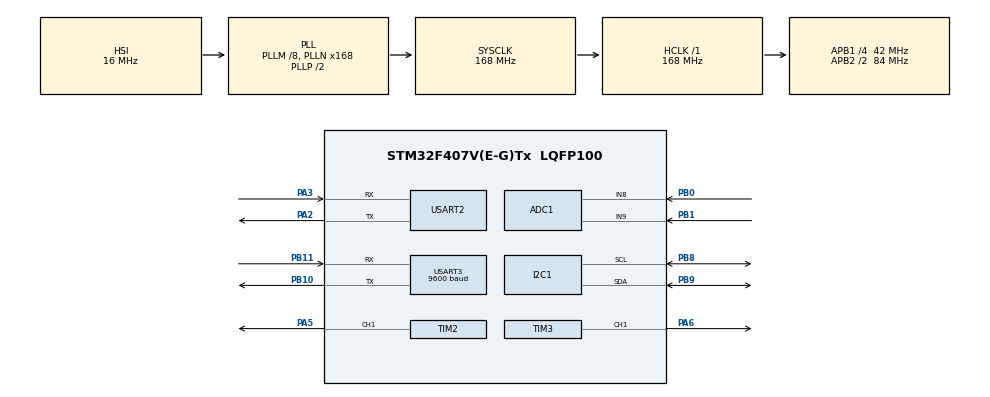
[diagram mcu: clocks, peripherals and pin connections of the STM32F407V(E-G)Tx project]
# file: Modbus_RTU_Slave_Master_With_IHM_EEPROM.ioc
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ADC1.Channel-0\#ChannelRegularConversion=ADC_CHANNEL_8
ADC1.Channel-1\#ChannelRegularConversion=ADC_CHANNEL_9
ADC1.NbrOfConversion=2
ADC1.NbrOfConversionFlag=1
ADC1.Rank-0\#ChannelRegularConversion=1
ADC1.Rank-1\#ChannelRegularConversion=2
ADC1.SamplingTime-0\#ChannelRegularConversion=ADC_SAMPLETIME_480CYCLES
ADC1.SamplingTime-1\#ChannelRegularConversion=ADC_SAMPLETIME_480CYCLES
ADC1.ScanConvMode=ENABLE
ADC1.master=1
I2C1.I2C_Mode=I2C_Fast
Mcu.Family=STM32F4
Mcu.Name=STM32F407V(E-G)Tx
Mcu.Package=LQFP100
NVIC.PriorityGroup=NVIC_PRIORITYGROUP_4
NVIC.TIM6_DAC_IRQn=true\:0\:0\:false\:false\:true\:true\:true\:true
NVIC.USART2_IRQn=true\:0\:0\:false\:false\:true\:true\:true\:true
NVIC.USART3_IRQn=true\:0\:0\:false\:false\:true\:true\:true\:true
PA13.Mode=Serial_Wire
PA13.Signal=SYS_JTMS-SWDIO
PA14.Mode=Serial_Wire
PA14.Signal=SYS_JTCK-SWCLK
PA2.Mode=Asynchronous
PA2.Signal=USART2_TX
PA3.Mode=Asynchronous
PA3.Signal=USART2_RX
PA5.Signal=S_TIM2_CH1_ETR
PA6.Signal=S_TIM3_CH1
PB0.Signal=ADCx_IN8
PB1.Signal=ADCx_IN9
PB10.Mode=Asynchronous
PB10.Signal=USART3_TX
PB11.Mode=Asynchronous
PB11.Signal=USART3_RX
PB8.Mode=I2C
PB8.Signal=I2C1_SCL
PB9.Mode=I2C
PB9.Signal=I2C1_SDA
ProjectManager.HeapSize=0x200
ProjectManager.StackSize=0x400
ProjectManager.TargetToolchain=STM32CubeIDE
RCC.48MHZClocksFreq_Value=84000000
RCC.AHBFreq_Value=168000000
RCC.APB1CLKDivider=RCC_HCLK_DIV4
RCC.APB1Freq_Value=42000000
RCC.APB1TimFreq_Value=84000000
RCC.APB2CLKDivider=RCC_HCLK_DIV2
RCC.APB2Freq_Value=84000000
RCC.APB2TimFreq_Value=168000000
RCC.CortexFreq_Value=168000000
RCC.HCLKFreq_Value=168000000
RCC.HSE_VALUE=25000000
RCC.HSI_VALUE=16000000
RCC.LSE_VALUE=32768
RCC.PLLM=8
RCC.PLLN=168
RCC.SYSCLKFreq_VALUE=168000000
RCC.SYSCLKSource=RCC_SYSCLKSOURCE_PLLCLK
RCC.VCOOutputFreq_Value=336000000
SH.ADCx_IN8.0=ADC1_IN8,IN8
SH.ADCx_IN9.0=ADC1_IN9,IN9
SH.S_TIM2_CH1_ETR.0=TIM2_CH1,PWM Generation1 CH1
SH.S_TIM3_CH1.0=TIM3_CH1,PWM Generation1 CH1
TIM2.Channel-PWM\ Generation1\ CH1=TIM_CHANNEL_1
TIM2.Period=999
TIM2.Prescaler=83
TIM3.Channel-PWM\ Generation1\ CH1=TIM_CHANNEL_1
TIM3.Period=999
TIM3.Prescaler=83
TIM6.Period=9999
TIM6.Prescaler=8399
USART2.VirtualMode=VM_ASYNC
USART3.BaudRate=9600
USART3.VirtualMode=VM_ASYNC
VP_TIM6_VS_ClockSourceINT.Mode=Enable_Timer
board=custom

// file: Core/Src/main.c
/* USER CODE BEGIN Header */
/**
  ******************************************************************************
  * @file           : main.c
  * @brief          : Main program body
  ******************************************************************************
  * @attention
  *
  * Copyright (c) 2024 STMicroelectronics.
  * All rights reserved.
  *
  * This software is licensed under terms that can be found in the LICENSE file
  * in the root directory of this software component.
  * If no LICENSE file comes with this software, it is provided AS-IS.
  *
  ******************************************************************************
  */
/* USER CODE END Header */
#include "main.h"

/* USER CODE BEGIN Includes */
#include <string.h>
#include <stdio.h>
#include <stdlib.h> // Pour utiliser atoi()
#include "modbus_crc.h"
#include "modbusSlave.h"
#include "modbusmaster.h"
#include "EEPROM.h"
/* USER CODE END Includes */

ADC_HandleTypeDef hadc1;

I2C_HandleTypeDef hi2c1;

TIM_HandleTypeDef htim2;
TIM_HandleTypeDef htim3;
TIM_HandleTypeDef htim6;

UART_HandleTypeDef huart2;
UART_HandleTypeDef huart3;

void SystemClock_Config(void);
static void MX_GPIO_Init(void);
static void MX_USART2_UART_Init(void);
static void MX_USART3_UART_Init(void);
static void MX_TIM6_Init(void);
static void MX_ADC1_Init(void);
static void MX_TIM2_Init(void);
static void MX_I2C1_Init(void);
static void MX_TIM3_Init(void);

/* USER CODE BEGIN 0 */
//#define MAX_REGISTERS 32
//#define MAX_COILS      8

/* Private variables ---------------------------------------------------------*/
UART_HandleTypeDef huart2;

extern uint8_t Coils_Database[25];
extern uint8_t Inputs_Database[25];
extern uint16_t Input_Registers_Database[50];
extern uint16_t Holding_Registers_Database[50];

// Buffers pour Master transmission
char buffer[32];
uint8_t choice;
uint8_t slaveAddr;
uint16_t startAddr, numRegs, value;
uint16_t values[10];
uint8_t coils[10];
uint8_t TxData_M[8];

//uint8_t coils[MAX_COILS] = {0};  // Example for storing coil states
//uint8_t RxData[MAX_REGISTERS];

// Buffers for Slave reception and transmission
uint8_t RxData[256];
uint8_t TxData[256];
uint16_t Data[10];

// Buffers pour la réception et l'envoi
uint8_t rx_buffer[1];       // Pour lire un caractère
uint8_t tx_buffer[500];     // Pour envoyer des messages
char input_buffer[20];      // Pour les entrées utilisateur
uint8_t input_index = 0;    // Index pour gérer les entrées

// Mode : 0 = Slave, 1 = Master
uint8_t mode = 0; // 0 = Slave, 1 = Master

#define DEV_ADDR 0xA0 // Adresse I2C de l'EEPROM

// Déclarer les paramètres UART pour stocker les données
UART_Params uartParams = {115200,UART_PARITY_NONE,UART_WORDLENGTH_8B,UART_STOPBITS_1};  // Valeurs par défaut
// Déclarations pour lire et écrire dans l'EEPROM
uint8_t uartParamsData[sizeof(UART_Params)];

// Prototypes
void ShowMenu(void);
void ProcessOption(char option);
void ConfigureUART2(void);

/* USER CODE END 0 */

void HAL_UARTEx_RxEventCallback(UART_HandleTypeDef *huart, uint16_t Size)
{
	if (RxData[0] == SLAVE_ID)
	{
		switch (RxData[1]){
		case 0x03:
			readHoldingRegs();
			break;
		case 0x04:
			readInputRegs();
			break;
		case 0x01:
			readCoils();
			break;
		case 0x02:
			readInputs();
			break;
		case 0x06:
			writeSingleReg();
			break;
		case 0x10:
			writeHoldingRegs();
			break;
		case 0x05:
			writeSingleCoil();
			break;
		case 0x0F:
			writeMultiCoils();
			break;
		default:
			modbusException(ILLEGAL_FUNCTION);
			break;
		}
	}

	HAL_UARTEx_ReceiveToIdle_IT(&huart2, RxData, 256);
}
void HAL_TIM_PeriodElapsedCallback(TIM_HandleTypeDef *htim) {
        // Mise à jour des broches du Port D (sortie) depuis Coils_Database[0] et Coils_Database[1]
		uint8_t lower_byte_out = Coils_Database[0]; // PD0 à PD7
        uint8_t upper_byte_out = Coils_Database[1]; // PD8 à PD15

        for (int i = 0; i < 8; i++) {
            HAL_GPIO_WritePin(GPIOD, (1 << i), (lower_byte_out & (1 << i)) ? GPIO_PIN_SET : GPIO_PIN_RESET);
        }

        for (int i = 0; i < 8; i++) {
            HAL_GPIO_WritePin(GPIOD, (1 << (i + 8)), (upper_byte_out & (1 << i)) ? GPIO_PIN_SET : GPIO_PIN_RESET);
        }

        // Lecture des broches du Port C (entrée) et mise à jour de Coils_Database[2] et Coils_Database[3]
        uint8_t lower_byte_in = 0; // PC0 à PC7
        uint8_t upper_byte_in = 0; // PC8 à PC15

        for (int i = 0; i < 8; i++) {
            if (HAL_GPIO_ReadPin(GPIOC, (1 << i)) == GPIO_PIN_SET) {
                lower_byte_in |= (1 << i); // Ajouter 1 au bit correspondant
            }
        }

        for (int i = 0; i < 8; i++) {
            if (HAL_GPIO_ReadPin(GPIOC, (1 << (i + 8))) == GPIO_PIN_SET) {
                upper_byte_in |= (1 << i); // Ajouter 1 au bit correspondant
            }
        }

        // Mise à jour de la base de données Coils
        Coils_Database[2] = lower_byte_in; // PC0 à PC7
        Coils_Database[3] = upper_byte_in; // PC8 à PC15
        Inputs_Database[0] = lower_byte_in; // PC0 à PC7 (même valeur que Coils_Database[2])
        Inputs_Database[1] = upper_byte_in; // PC8 à PC15 (même valeur que Coils_Database[3])

        Update_Input_Registers();
//Scenario  de test
       // Scenario 1: Lire l'état de PC0 et contrôler la LED sur PD0
        //une variable globale pour suivre si la LED a été allumée
        static uint8_t led_on = 0;

        if (Coils_Database[0] & 0x01) {
            // Si la LED est allumée
            if (HAL_GPIO_ReadPin(GPIOC, GPIO_PIN_0) == GPIO_PIN_RESET) {
                // Si le bouton est pressé, éteindre la LED
                HAL_GPIO_WritePin(GPIOD, GPIO_PIN_0, GPIO_PIN_RESET); // Éteindre la LED
                Coils_Database[0] &= ~0x01; // Mettre à jour Coils_Database[0] pour éteindre la LED (mettre le premier bit à 0)
                led_on = 1;  // Indiquer que la LED a été allumée au moins une fois
            }
        } else if (led_on) { // Cette condition ne sera vraie que si la LED a été allumée une fois
            // Si la LED était éteinte dans Coils_Database[0] et si elle a été allumée au moins une fois
            if (HAL_GPIO_ReadPin(GPIOC, GPIO_PIN_0) == GPIO_PIN_SET) {
                // Rallumer la LED
                HAL_GPIO_WritePin(GPIOD, GPIO_PIN_0, GPIO_PIN_SET);
                Coils_Database[0] |= 0x01; // Mettre à jour Coils_Database[0] pour allumer la LED (mettre le premier bit à 1)
                led_on = 0; // Réinitialiser le flag après avoir rallumé la LED
            }
        }

        // Scenario 2: Ajuster la luminosité de la LED sur PD1 en fonction du potentiomètre
        // Utiliser la valeur du potentiomètre pour contrôler la luminosité de la LED via PWM PA5
           uint16_t pot_value = Holding_Registers_Database[0]; // Valeur du potentiomètre stockée dans le Holding registre
           uint32_t pwm_duty_cycle = (pot_value * 100) / 4095; // Convertir la valeur du potentiomètre en pourcentage (12 bits = 0 à 4095)

        // Appliquer le duty cycle PWM à la LED sur PA5 (par exemple via TIM1 PWM)
           __HAL_TIM_SET_COMPARE(&htim2, TIM_CHANNEL_1, pwm_duty_cycle); // Appliquer le PWM à la LED sur PA5

          ////////////////////////////////////////////////////////////////////////////////

           uint16_t pot_value2 = Holding_Registers_Database[2]; // Valeur du potentiomètre stockée dans le Holding registre
           uint32_t pwm_duty_cycle2 = (pot_value2 * 100) / 4095; // Convertir la valeur du potentiomètre en pourcentage (12 bits = 0 à 4095)

        // Appliquer le duty cycle PWM à la LED sur PA6 (par exemple via TIM3 ch1 PWM)
           __HAL_TIM_SET_COMPARE(&htim3, TIM_CHANNEL_1, pwm_duty_cycle2); // Appliquer le PWM à la LED sur PA6

}

int main(void)
{

  /* MCU Configuration--------------------------------------------------------*/

  /* Reset of all peripherals, Initializes the Flash interface and the Systick. */
  HAL_Init();

  /* Configure the system clock */
  SystemClock_Config();

  /* Initialize all configured peripherals */
  MX_GPIO_Init();
  MX_USART2_UART_Init();
  MX_USART3_UART_Init();
  MX_TIM6_Init();
  MX_ADC1_Init();
  MX_TIM2_Init();
  MX_I2C1_Init();
  MX_TIM3_Init();
  /* USER CODE BEGIN 2 */
  HAL_TIM_Base_Start_IT(&htim6); // Démarrer le timer en mode interruption
  HAL_TIM_PWM_Start(&htim2,TIM_CHANNEL_1);
  //HAL_UARTEx_ReceiveToIdle_IT(&huart2, RxData, 256);

  // Lire les paramètres UART au redémarrage
  EEPROM_Read_UART_Params(5, 0, &uartParams);
  ConfigureUART2();
  // Afficher le menu initial
  ShowMenu();

  /* USER CODE END 2 */

  /* Infinite loop */
  while (1)
  {
	  if (mode == 0)
	  	  {
	 	  HAL_UARTEx_ReceiveToIdle_IT(&huart2, RxData, 256);
	 	  }
	  if (HAL_UART_Receive(&huart3, rx_buffer, 1, HAL_MAX_DELAY) == HAL_OK)
	  	  {
	 	  char option = rx_buffer[0];
	 	  ProcessOption(option); // Traiter l'option choisie
	 	  }
  }
}

// Afficher le menu
void ShowMenu(void) {
    sprintf((char *)tx_buffer,
    	"\n"
    	//"===========================\r\n"
        "\r\n=== Configuration Modbus ===\r\n"
    	"\n"
    	"0: Rafraichir le menu\r\n"
        "1: Choisir Mode (Slave ou Master)\r\n"
        "2: Choisir Baudrate\r\n"
        "3: Choisir Longueur des mots\r\n"
        "4: Choisir Parite\r\n"
        "5: Choisir Bits d'arret\r\n"
    	"6: Menu Modbus Master\r\n"
    	"\n"
    	"===========================\r\n"
    	"\n"
        "Entrez votre choix:");
    HAL_UART_Transmit(&huart3, tx_buffer, strlen((char *)tx_buffer), HAL_MAX_DELAY);
}

// Traiter une option utilisateur
void ProcessOption(char option) {
    switch (option) {
        case '0': // Rafraichir le menu
               ShowMenu();
               break;
        case '1': // Configuration du Mode (Slave ou Master)
            sprintf((char *)tx_buffer,
            	"\n"
                "\r\nOptions Mode:\r\n"
                "0: Mode Slave\r\n"
                "1: Mode Master\r\n"
            	"Votre choix actuel : %s\r\n"
            	"Entrez votre choix: ", (mode == 0) ? "Slave" : "Master");
            HAL_UART_Transmit(&huart3, tx_buffer, strlen((char *)tx_buffer), HAL_MAX_DELAY);
            HAL_UART_Receive(&huart3, rx_buffer, 1, HAL_MAX_DELAY);

            if (rx_buffer[0] == '0') {
                mode = 0; // Slave
            } else if (rx_buffer[0] == '1') {
                mode = 1; // Master
            } else {
                sprintf((char *)tx_buffer, "Option invalide.\r\n");
                HAL_UART_Transmit(&huart3, tx_buffer, strlen((char *)tx_buffer), HAL_MAX_DELAY);
                return;
            }
            sprintf((char *)tx_buffer, "Mode configure a %s.\r\n", (mode == 0) ? "Slave" : "Master");
            HAL_UART_Transmit(&huart3, tx_buffer, strlen((char *)tx_buffer), HAL_MAX_DELAY);
            ShowMenu(); // Rafraîchir le menu après la configuration
            break;

        case '2': // Configuration Baudrate
            sprintf((char *)tx_buffer,
            	"\n"
            	"\r\nOptions Baudrate:\r\n"
                "1: 9600\r\n"
                "2: 19200\r\n"
                "3: 38400\r\n"
                "4: 57600\r\n"
                "5: 115200\r\n"
                "6: Saisir manuellement\r\n"
            	"Votre choix actuel : %lu\r\n"
            	"Entrez votre choix: ", uartParams.baudrate);
            HAL_UART_Transmit(&huart3, tx_buffer, strlen((char *)tx_buffer), HAL_MAX_DELAY);
            HAL_UART_Receive(&huart3, rx_buffer, 1, HAL_MAX_DELAY);

            if (rx_buffer[0] >= '1' && rx_buffer[0] <= '5') {
                int baud_choices[] = {9600, 19200, 38400, 57600, 115200};
                uartParams.baudrate = baud_choices[rx_buffer[0] - '1'];
            } else if (rx_buffer[0] == '6') {
                sprintf((char *)tx_buffer, "Entrez le baudrate (par exemple 9600): ");
                HAL_UART_Transmit(&huart3, tx_buffer, strlen((char *)tx_buffer), HAL_MAX_DELAY);

                // Lire l'entrée complète de l'utilisateur jusqu'à "Entrée"
                memset(input_buffer, 0, sizeof(input_buffer));
                HAL_UART_Receive(&huart3, (uint8_t *)input_buffer, sizeof(input_buffer)-1, HAL_MAX_DELAY); // Lire jusqu'à ce que l'utilisateur appuie sur "Entrée"

                uartParams.baudrate = atoi(input_buffer);  // Convertir en entier
                if (uartParams.baudrate <= 0) {
                    sprintf((char *)tx_buffer, "Valeur de baudrate invalide.\r\n");
                    HAL_UART_Transmit(&huart3, tx_buffer, strlen((char *)tx_buffer), HAL_MAX_DELAY);
                    return;
                }
            } else {
                sprintf((char *)tx_buffer, "Option invalide.\r\n");
                HAL_UART_Transmit(&huart3, tx_buffer, strlen((char *)tx_buffer), HAL_MAX_DELAY);
                return;
            }
            // Sauvegarder ces paramètres dans l'EEPROM
            EEPROM_Write_UART_Params(5, 0, &uartParams);
            sprintf((char *)tx_buffer, "Baudrate configure a %lu.\r\n", uartParams.baudrate);
            HAL_UART_Transmit(&huart3, tx_buffer, strlen((char *)tx_buffer), HAL_MAX_DELAY);
            ShowMenu(); // Rafraîchir le menu après la configuration
            break;

        case '3': // Configuration Longueur des mots
            sprintf((char *)tx_buffer,
            	"\n"
            	"\r\nOptions Longueur des mots:\r\n"
                "1: 8 bits\r\n"
                "2: 9 bits\r\n"
            	"Votre choix actuel : %s\r\n"
            	"Entrez votre choix: ", (uartParams.wordLength == UART_WORDLENGTH_8B) ? "8 bits" : "9 bits");
            HAL_UART_Transmit(&huart3, tx_buffer, strlen((char *)tx_buffer), HAL_MAX_DELAY);
            HAL_UART_Receive(&huart3, rx_buffer, 1, HAL_MAX_DELAY);

            uartParams.wordLength = (rx_buffer[0] == '1') ? UART_WORDLENGTH_8B : UART_WORDLENGTH_9B;
            // Sauvegarder ces paramètres dans l'EEPROM
            EEPROM_Write_UART_Params(5, 0, &uartParams);
            sprintf((char *)tx_buffer, "Longueur des mots configuree.\r\n");
            HAL_UART_Transmit(&huart3, tx_buffer, strlen((char *)tx_buffer), HAL_MAX_DELAY);
            ShowMenu(); // Rafraîchir le menu après la configuration
            break;

        case '4': // Configuration Parite
            sprintf((char *)tx_buffer,
            	"\n"
            	"\r\nOptions Parite:\r\n"
                "1: Aucune\r\n"
                "2: Paire\r\n"
                "3: Impaire\r\n"
            	"Votre choix actuel : %s\r\n"
                "Entrez votre choix: ", (uartParams.parity == UART_PARITY_NONE) ? "Aucune" : (uartParams.parity == UART_PARITY_EVEN) ? "Paire" : "Impaire");
            HAL_UART_Transmit(&huart3, tx_buffer, strlen((char *)tx_buffer), HAL_MAX_DELAY);
            HAL_UART_Receive(&huart3, rx_buffer, 1, HAL_MAX_DELAY);

            if (rx_buffer[0] == '1') uartParams.parity = UART_PARITY_NONE;
            else if (rx_buffer[0] == '2') uartParams.parity = UART_PARITY_EVEN;
            else if (rx_buffer[0] == '3') uartParams.parity = UART_PARITY_ODD;
            // Sauvegarder ces paramètres dans l'EEPROM
            EEPROM_Write_UART_Params(5, 0, &uartParams);
            sprintf((char *)tx_buffer, "Parite configuree.\r\n");
            HAL_UART_Transmit(&huart3, tx_buffer, strlen((char *)tx_buffer), HAL_MAX_DELAY);
            ShowMenu(); // Rafraîchir le menu après la configuration
            break;

        case '5': // Configuration Bits d'arrêt
            sprintf((char *)tx_buffer,
            	"\n"
            	"\r\nOptions Bits d'arret:\r\n"
                "1: 1 bit\r\n"
                "2: 2 bits\r\n"
            	"Votre choix actuel : %s\r\n"
                "Entrez votre choix: ", (uartParams.stopBits == UART_STOPBITS_1) ? "1 bit" : "2 bits");
            HAL_UART_Transmit(&huart3, tx_buffer, strlen((char *)tx_buffer), HAL_MAX_DELAY);
            HAL_UART_Receive(&huart3, rx_buffer, 1, HAL_MAX_DELAY);

            uartParams.stopBits = (rx_buffer[0] == '1') ? UART_STOPBITS_1 : UART_STOPBITS_2;
            // Sauvegarder ces paramètres dans l'EEPROM
            EEPROM_Write_UART_Params(5, 0, &uartParams);
            sprintf((char *)tx_buffer, "Bits d'arret configurees.\r\n");
            HAL_UART_Transmit(&huart3, tx_buffer, strlen((char *)tx_buffer), HAL_MAX_DELAY);
            ShowMenu(); // Rafraîchir le menu après la configuration
            break;
        case '6': // Interaction avec le menu Modbus Master
                   if (mode == 1) { // Vérifier que le mode est "Master"
                       ModbusMenuInteraction();
                   } else {
                       sprintf((char *)tx_buffer, "Mode non valide. Configurez d'abord en mode Master.\r\n");
                       HAL_UART_Transmit(&huart3, tx_buffer, strlen((char *)tx_buffer), HAL_MAX_DELAY);
                   }
                   ShowMenu();// Afficher à nouveau le menu après l'interaction
                   break;
        default:
            sprintf((char *)tx_buffer, "Option invalide.\r\n");
            HAL_UART_Transmit(&huart3, tx_buffer, strlen((char *)tx_buffer), HAL_MAX_DELAY);
            ShowMenu(); // Rafraîchir le menu après la configuration
            break;
    }

    // Appliquer la configuration
    ConfigureUART2();
}

void ConfigureUART2(void) {

	// 1. Désactiver l'UART2 pour éviter toute interférence
    HAL_UART_DeInit(&huart2); // Désactive l'UART

    // 2. Appliquer la nouvelle configuration
    huart2.Init.BaudRate = uartParams.baudrate;
    huart2.Init.WordLength = uartParams.wordLength;
    huart2.Init.StopBits = uartParams.stopBits;
    huart2.Init.Parity = uartParams.parity;

    // 3. Réinitialiser l'UART pour appliquer les changements de configuration
    HAL_UART_Init(&huart2); // Appliquer la configuration

    // 4. Optionnel : Assurez-vous que l'UART est prêt à communiquer (si nécessaire)
    // Vérifiez si l'UART est correctement initialisé et prêt pour la communication
    if (HAL_UART_GetState(&huart2) != HAL_UART_STATE_READY) {
    // Si l'UART n'est pas prêt, vous pouvez gérer l'erreur ici
    // Par exemple, afficher un message d'erreur ou tenter une réinitialisation
        sprintf((char *)tx_buffer, "Erreur d'initialisation de l'UART.\r\n");
        HAL_UART_Transmit(&huart3, tx_buffer, strlen((char *)tx_buffer), HAL_MAX_DELAY);
    }
}
void ModbusMenuInteraction()
{
    char menu[] =
        "\r\n=== Modbus Master Menu ===\r\n"
        "1. Read Holding Registers (0x03)\r\n"
        "2. Read Input Registers (0x04)\r\n"
        "3. Read Coils (0x01)\r\n"
        "4. Read Discrete Inputs (0x02)\r\n"
        "5. Write Single Register (0x06)\r\n"
        "6. Write Multiple Registers (0x10)\r\n"
        "7. Write Single Coil (0x05)\r\n"
        "8. Write Multiple Coils (0x0F)\r\n"
        "Enter your choice: ";

    // Display the menu
    HAL_UART_Transmit(&huart3, (uint8_t*)menu, strlen(menu), HAL_MAX_DELAY);

    // Read user input (choice)
    HAL_UART_Receive(&huart3, (uint8_t*)buffer, 1, HAL_MAX_DELAY);
    choice = buffer[0] - '0';

    // Get slave address
    HAL_UART_Transmit(&huart3, (uint8_t*)"\r\nEnter Slave Address (1-247): ", 31, HAL_MAX_DELAY);
    HAL_UART_Receive(&huart3, (uint8_t*)buffer, 3, HAL_MAX_DELAY);
    slaveAddr = atoi(buffer);

    // Execute based on choice
    switch (choice)
    {
        case 1:  // Read Holding Registers
            HAL_UART_Transmit(&huart3, (uint8_t*)"\r\nEnter Start Address: ", 23, HAL_MAX_DELAY);
            HAL_UART_Receive(&huart3, (uint8_t*)buffer, 5, HAL_MAX_DELAY);
            startAddr = atoi(buffer);

            HAL_UART_Transmit(&huart3, (uint8_t*)"\r\nEnter Number of Registers: ", 29, HAL_MAX_DELAY);
            HAL_UART_Receive(&huart3, (uint8_t*)buffer, 5, HAL_MAX_DELAY);
            numRegs = atoi(buffer);

            readHoldingRegisters_M(slaveAddr, startAddr, numRegs);
            break;

        case 2:  // Read Input Registers
            HAL_UART_Transmit(&huart3, (uint8_t*)"\r\nEnter Start Address: ", 23, HAL_MAX_DELAY);
            HAL_UART_Receive(&huart3, (uint8_t*)buffer, 5, HAL_MAX_DELAY);
            startAddr = atoi(buffer);

            HAL_UART_Transmit(&huart3, (uint8_t*)"\r\nEnter Number of Registers: ", 29, HAL_MAX_DELAY);
            HAL_UART_Receive(&huart3, (uint8_t*)buffer, 5, HAL_MAX_DELAY);
            numRegs = atoi(buffer);

            readInputRegisters_M(slaveAddr, startAddr, numRegs);
            break;

        case 3:  // Read Coils
            HAL_UART_Transmit(&huart3, (uint8_t*)"\r\nEnter Start Address: ", 23, HAL_MAX_DELAY);
            HAL_UART_Receive(&huart3, (uint8_t*)buffer, 5, HAL_MAX_DELAY);
            startAddr = atoi(buffer);

            HAL_UART_Transmit(&huart3, (uint8_t*)"\r\nEnter Number of Coils: ", 24, HAL_MAX_DELAY);
            HAL_UART_Receive(&huart3, (uint8_t*)buffer, 5, HAL_MAX_DELAY);
            numRegs = atoi(buffer);

            readCoils_M(slaveAddr, startAddr, numRegs);
            break;

        case 4:  // Read Discrete Inputs
            HAL_UART_Transmit(&huart3, (uint8_t*)"\r\nEnter Start Address: ", 23, HAL_MAX_DELAY);
            HAL_UART_Receive(&huart3, (uint8_t*)buffer, 5, HAL_MAX_DELAY);
            startAddr = atoi(buffer);

            HAL_UART_Transmit(&huart3, (uint8_t*)"\r\nEnter Number of Inputs: ", 26, HAL_MAX_DELAY);
            HAL_UART_Receive(&huart3, (uint8_t*)buffer, 5, HAL_MAX_DELAY);
            numRegs = atoi(buffer);

            readDiscreteInputs_M(slaveAddr, startAddr, numRegs);
            break;

        case 5:  // Write Single Register
            HAL_UART_Transmit(&huart3, (uint8_t*)"\r\nEnter Address: ", 17, HAL_MAX_DELAY);
            HAL_UART_Receive(&huart3, (uint8_t*)buffer, 5, HAL_MAX_DELAY);
            startAddr = atoi(buffer);

            HAL_UART_Transmit(&huart3, (uint8_t*)"\r\nEnter Value: ", 15, HAL_MAX_DELAY);
            HAL_UART_Receive(&huart3, (uint8_t*)buffer, 5, HAL_MAX_DELAY);
            value = atoi(buffer);

            writeSingleRegister_M(slaveAddr, startAddr, value);
            break;

        case 6:  // Write Multiple Registers
            HAL_UART_Transmit(&huart3, (uint8_t*)"\r\nEnter Start Address: ", 23, HAL_MAX_DELAY);
            HAL_UART_Receive(&huart3, (uint8_t*)buffer, 5, HAL_MAX_DELAY);
            startAddr = atoi(buffer);

            HAL_UART_Transmit(&huart3, (uint8_t*)"\r\nEnter Number of Registers: ", 29, HAL_MAX_DELAY);
            HAL_UART_Receive(&huart3, (uint8_t*)buffer, 5, HAL_MAX_DELAY);
            numRegs = atoi(buffer);

            HAL_UART_Transmit(&huart3, (uint8_t*)"\r\nEnter Values (space separated): ", 34, HAL_MAX_DELAY);
            HAL_UART_Receive(&huart3, (uint8_t*)buffer, 32, HAL_MAX_DELAY);  // Example: "100 200 300"
            for (int i = 0; i < numRegs; i++) {
                values[i] = atoi(&buffer[i * 5]);  // Convert each value (space separated)
            }

            writeMultipleRegisters_M(slaveAddr, startAddr, numRegs, values);
            break;

        case 7:  // Write Single Coil
            HAL_UART_Transmit(&huart3, (uint8_t*)"\r\nEnter Address: ", 17, HAL_MAX_DELAY);
            HAL_UART_Receive(&huart3, (uint8_t*)buffer, 5, HAL_MAX_DELAY);
            startAddr = atoi(buffer);

            HAL_UART_Transmit(&huart3, (uint8_t*)"\r\nEnter Value (0 or 1): ", 24, HAL_MAX_DELAY);
            HAL_UART_Receive(&huart3, (uint8_t*)buffer, 5, HAL_MAX_DELAY);
            value = atoi(buffer);

            if (value != 0 && value != 1) {
                HAL_UART_Transmit(&huart3, (uint8_t*)"\r\nInvalid value. Only 0 or 1 allowed.", 37, HAL_MAX_DELAY);
            } else {
                writeSingleCoil_M(slaveAddr, startAddr, value);
            }
            break;

        case 8:  // Write Multiple Coils
            HAL_UART_Transmit(&huart3, (uint8_t*)"\r\nEnter Start Address: ", 23, HAL_MAX_DELAY);
            HAL_UART_Receive(&huart3, (uint8_t*)buffer, 5, HAL_MAX_DELAY);
            startAddr = atoi(buffer);

            HAL_UART_Transmit(&huart3, (uint8_t*)"\r\nEnter Number of Coils: ", 24, HAL_MAX_DELAY);
            HAL_UART_Receive(&huart3, (uint8_t*)buffer, 5, HAL_MAX_DELAY);
            numRegs = atoi(buffer);

            HAL_UART_Transmit(&huart3, (uint8_t*)"\r\nEnter Coil Values (space separated): ", 37, HAL_MAX_DELAY);
            HAL_UART_Receive(&huart3, (uint8_t*)buffer, 32, HAL_MAX_DELAY);  // Example: "1 0 1"
            for (int i = 0; i < (numRegs + 7) / 8; i++) {
                coils[i] = atoi(&buffer[i * 5]);  // Convert each value (space separated)
            }

            writeMultipleCoils_M(slaveAddr, startAddr, numRegs, coils);
            break;

        default:
            HAL_UART_Transmit(&huart3, (uint8_t*)"\r\nInvalid choice.\r\n", 19, HAL_MAX_DELAY);
            break;
        }

    HAL_UART_Transmit(&huart3, (uint8_t*)"\r\nOperation complete.\r\n", 23, HAL_MAX_DELAY);
    //ShowMenu();
}

void SystemClock_Config(void)
{
  RCC_OscInitTypeDef RCC_OscInitStruct = {0};
  RCC_ClkInitTypeDef RCC_ClkInitStruct = {0};

  /** Configure the main internal regulator output voltage
  */
  __HAL_RCC_PWR_CLK_ENABLE();
  __HAL_PWR_VOLTAGESCALING_CONFIG(PWR_REGULATOR_VOLTAGE_SCALE1);

  /** Initializes the RCC Oscillators according to the specified parameters
  * in the RCC_OscInitTypeDef structure.
  */
  RCC_OscInitStruct.OscillatorType = RCC_OSCILLATORTYPE_HSI;
  RCC_OscInitStruct.HSIState = RCC_HSI_ON;
  RCC_OscInitStruct.HSICalibrationValue = RCC_HSICALIBRATION_DEFAULT;
  RCC_OscInitStruct.PLL.PLLState = RCC_PLL_ON;
  RCC_OscInitStruct.PLL.PLLSource = RCC_PLLSOURCE_HSI;
  RCC_OscInitStruct.PLL.PLLM = 8;
  RCC_OscInitStruct.PLL.PLLN = 168;
  RCC_OscInitStruct.PLL.PLLP = RCC_PLLP_DIV2;
  RCC_OscInitStruct.PLL.PLLQ = 4;
  if (HAL_RCC_OscConfig(&RCC_OscInitStruct) != HAL_OK)
  {
    Error_Handler();
  }

  /** Initializes the CPU, AHB and APB buses clocks
  */
  RCC_ClkInitStruct.ClockType = RCC_CLOCKTYPE_HCLK|RCC_CLOCKTYPE_SYSCLK
                              |RCC_CLOCKTYPE_PCLK1|RCC_CLOCKTYPE_PCLK2;
  RCC_ClkInitStruct.SYSCLKSource = RCC_SYSCLKSOURCE_PLLCLK;
  RCC_ClkInitStruct.AHBCLKDivider = RCC_SYSCLK_DIV1;
  RCC_ClkInitStruct.APB1CLKDivider = RCC_HCLK_DIV4;
  RCC_ClkInitStruct.APB2CLKDivider = RCC_HCLK_DIV2;

  if (HAL_RCC_ClockConfig(&RCC_ClkInitStruct, FLASH_LATENCY_5) != HAL_OK)
  {
    Error_Handler();
  }
}

static void MX_ADC1_Init(void)
{

  ADC_ChannelConfTypeDef sConfig = {0};

  /** Configure the global features of the ADC (Clock, Resolution, Data Alignment and number of conversion)
  */
  hadc1.Instance = ADC1;
  hadc1.Init.ClockPrescaler = ADC_CLOCK_SYNC_PCLK_DIV4;
  hadc1.Init.Resolution = ADC_RESOLUTION_12B;
  hadc1.Init.ScanConvMode = ENABLE;
  hadc1.Init.ContinuousConvMode = DISABLE;
  hadc1.Init.DiscontinuousConvMode = DISABLE;
  hadc1.Init.ExternalTrigConvEdge = ADC_EXTERNALTRIGCONVEDGE_NONE;
  hadc1.Init.ExternalTrigConv = ADC_SOFTWARE_START;
  hadc1.Init.DataAlign = ADC_DATAALIGN_RIGHT;
  hadc1.Init.NbrOfConversion = 2;
  hadc1.Init.DMAContinuousRequests = DISABLE;
  hadc1.Init.EOCSelection = ADC_EOC_SINGLE_CONV;
  if (HAL_ADC_Init(&hadc1) != HAL_OK)
  {
    Error_Handler();
  }

  /** Configure for the selected ADC regular channel its corresponding rank in the sequencer and its sample time.
  */
  sConfig.Channel = ADC_CHANNEL_8;
  sConfig.Rank = 1;
  sConfig.SamplingTime = ADC_SAMPLETIME_480CYCLES;
  if (HAL_ADC_ConfigChannel(&hadc1, &sConfig) != HAL_OK)
  {
    Error_Handler();
  }

  /** Configure for the selected ADC regular channel its corresponding rank in the sequencer and its sample time.
  */
  sConfig.Channel = ADC_CHANNEL_9;
  sConfig.Rank = 2;
  if (HAL_ADC_ConfigChannel(&hadc1, &sConfig) != HAL_OK)
  {
    Error_Handler();
  }

}

static void MX_I2C1_Init(void)
{

  hi2c1.Instance = I2C1;
  hi2c1.Init.ClockSpeed = 400000;
  hi2c1.Init.DutyCycle = I2C_DUTYCYCLE_2;
  hi2c1.Init.OwnAddress1 = 0;
  hi2c1.Init.AddressingMode = I2C_ADDRESSINGMODE_7BIT;
  hi2c1.Init.DualAddressMode = I2C_DUALADDRESS_DISABLE;
  hi2c1.Init.OwnAddress2 = 0;
  hi2c1.Init.GeneralCallMode = I2C_GENERALCALL_DISABLE;
  hi2c1.Init.NoStretchMode = I2C_NOSTRETCH_DISABLE;
  if (HAL_I2C_Init(&hi2c1) != HAL_OK)
  {
    Error_Handler();
  }

}

static void MX_TIM2_Init(void)
{

  TIM_MasterConfigTypeDef sMasterConfig = {0};
  TIM_OC_InitTypeDef sConfigOC = {0};

  htim2.Instance = TIM2;
  htim2.Init.Prescaler = 83;
  htim2.Init.CounterMode = TIM_COUNTERMODE_UP;
  htim2.Init.Period = 999;
  htim2.Init.ClockDivision = TIM_CLOCKDIVISION_DIV1;
  htim2.Init.AutoReloadPreload = TIM_AUTORELOAD_PRELOAD_DISABLE;
  if (HAL_TIM_PWM_Init(&htim2) != HAL_OK)
  {
    Error_Handler();
  }
  sMasterConfig.MasterOutputTrigger = TIM_TRGO_RESET;
  sMasterConfig.MasterSlaveMode = TIM_MASTERSLAVEMODE_DISABLE;
  if (HAL_TIMEx_MasterConfigSynchronization(&htim2, &sMasterConfig) != HAL_OK)
  {
    Error_Handler();
  }
  sConfigOC.OCMode = TIM_OCMODE_PWM1;
  sConfigOC.Pulse = 0;
  sConfigOC.OCPolarity = TIM_OCPOLARITY_HIGH;
  sConfigOC.OCFastMode = TIM_OCFAST_DISABLE;
  if (HAL_TIM_PWM_ConfigChannel(&htim2, &sConfigOC, TIM_CHANNEL_1) != HAL_OK)
  {
    Error_Handler();
  }
  HAL_TIM_MspPostInit(&htim2);

}

static void MX_TIM3_Init(void)
{

  TIM_MasterConfigTypeDef sMasterConfig = {0};
  TIM_OC_InitTypeDef sConfigOC = {0};

  htim3.Instance = TIM3;
  htim3.Init.Prescaler = 83;
  htim3.Init.CounterMode = TIM_COUNTERMODE_UP;
  htim3.Init.Period = 999;
  htim3.Init.ClockDivision = TIM_CLOCKDIVISION_DIV1;
  htim3.Init.AutoReloadPreload = TIM_AUTORELOAD_PRELOAD_DISABLE;
  if (HAL_TIM_PWM_Init(&htim3) != HAL_OK)
  {
    Error_Handler();
  }
  sMasterConfig.MasterOutputTrigger = TIM_TRGO_RESET;
  sMasterConfig.MasterSlaveMode = TIM_MASTERSLAVEMODE_DISABLE;
  if (HAL_TIMEx_MasterConfigSynchronization(&htim3, &sMasterConfig) != HAL_OK)
  {
    Error_Handler();
  }
  sConfigOC.OCMode = TIM_OCMODE_PWM1;
  sConfigOC.Pulse = 0;
  sConfigOC.OCPolarity = TIM_OCPOLARITY_HIGH;
  sConfigOC.OCFastMode = TIM_OCFAST_DISABLE;
  if (HAL_TIM_PWM_ConfigChannel(&htim3, &sConfigOC, TIM_CHANNEL_1) != HAL_OK)
  {
    Error_Handler();
  }
  HAL_TIM_MspPostInit(&htim3);

}

static void MX_TIM6_Init(void)
{

  TIM_MasterConfigTypeDef sMasterConfig = {0};

  htim6.Instance = TIM6;
  htim6.Init.Prescaler = 8399;
  htim6.Init.CounterMode = TIM_COUNTERMODE_UP;
  htim6.Init.Period = 9999;
  htim6.Init.AutoReloadPreload = TIM_AUTORELOAD_PRELOAD_DISABLE;
  if (HAL_TIM_Base_Init(&htim6) != HAL_OK)
  {
    Error_Handler();
  }
  sMasterConfig.MasterOutputTrigger = TIM_TRGO_RESET;
  sMasterConfig.MasterSlaveMode = TIM_MASTERSLAVEMODE_DISABLE;
  if (HAL_TIMEx_MasterConfigSynchronization(&htim6, &sMasterConfig) != HAL_OK)
  {
    Error_Handler();
  }

}

static void MX_USART2_UART_Init(void)
{

  huart2.Instance = USART2;
  huart2.Init.BaudRate = 115200;
  huart2.Init.WordLength = UART_WORDLENGTH_8B;
  huart2.Init.StopBits = UART_STOPBITS_1;
  huart2.Init.Parity = UART_PARITY_NONE;
  huart2.Init.Mode = UART_MODE_TX_RX;
  huart2.Init.HwFlowCtl = UART_HWCONTROL_NONE;
  huart2.Init.OverSampling = UART_OVERSAMPLING_16;
  if (HAL_UART_Init(&huart2) != HAL_OK)
  {
    Error_Handler();
  }

}

static void MX_USART3_UART_Init(void)
{

  huart3.Instance = USART3;
  huart3.Init.BaudRate = 9600;
  huart3.Init.WordLength = UART_WORDLENGTH_8B;
  huart3.Init.StopBits = UART_STOPBITS_1;
  huart3.Init.Parity = UART_PARITY_NONE;
  huart3.Init.Mode = UART_MODE_TX_RX;
  huart3.Init.HwFlowCtl = UART_HWCONTROL_NONE;
  huart3.Init.OverSampling = UART_OVERSAMPLING_16;
  if (HAL_UART_Init(&huart3) != HAL_OK)
  {
    Error_Handler();
  }

}

static void MX_GPIO_Init(void)
{

  /* GPIO Ports Clock Enable */
  __HAL_RCC_GPIOA_CLK_ENABLE();
  __HAL_RCC_GPIOB_CLK_ENABLE();

  // Activer les horloges pour les Ports D et C
  	  __HAL_RCC_GPIOD_CLK_ENABLE();
  	  __HAL_RCC_GPIOC_CLK_ENABLE();

  	  // Configuration des broches du Port D (PD0 à PD15) en sortie
  	  GPIO_InitTypeDef GPIO_InitStruct = {0};
  	  GPIO_InitStruct.Pin = GPIO_PIN_All; // PD0 à PD15
  	  GPIO_InitStruct.Mode = GPIO_MODE_OUTPUT_PP; // Mode sortie Push-Pull
  	  GPIO_InitStruct.Pull = GPIO_NOPULL; // Pas de résistance interne
  	  GPIO_InitStruct.Speed = GPIO_SPEED_FREQ_LOW; // Vitesse basse
  	  HAL_GPIO_Init(GPIOD, &GPIO_InitStruct);

  	  // Configuration des broches du Port C (PC0 à PC15) en entrée
  	  GPIO_InitStruct.Pin = GPIO_PIN_All; // PC0 à PC15
  	  GPIO_InitStruct.Mode = GPIO_MODE_INPUT; // Mode entrée
  	  GPIO_InitStruct.Pull = GPIO_PULLUP; // Résistance Pull-Up pour éviter des états flottants
  	  HAL_GPIO_Init(GPIOC, &GPIO_InitStruct);

}

void Error_Handler(void)
{
  __disable_irq();
  while (1)
  {
  }
}
